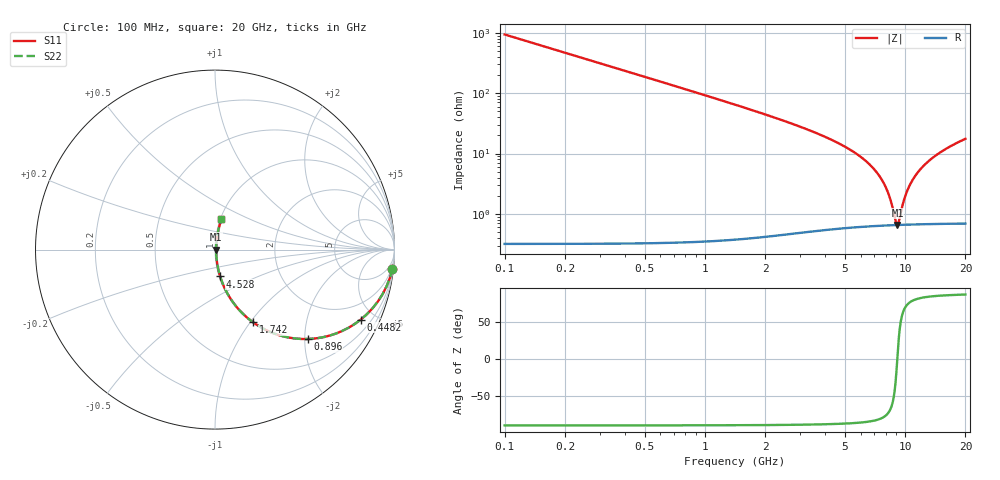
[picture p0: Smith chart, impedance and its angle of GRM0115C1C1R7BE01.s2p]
!Murata Part Number: GRM0115C1C1R7BE01
!These Parameters are Measured in Series Mode Connection
!Data Generated on Mar 30, 2021
!  o--ll--o
!Port1  Port2
!  o------o
!Operation Temp=25[degC], DC Bias Voltage=0[V]
!Freq. Start=100[MHz] Stop=20[GHz] 401[Steps]
# Hz S RI R 50
!Freq.(Hz) S11(Real) S11(Imag) S21(Real) S21(Imag) S12(Real) S12(Imag) S22(Real) S22(Imag)
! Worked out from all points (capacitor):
!   401 points, 100 MHz to 20 GHz, reference 50 ohm
!   read as one part in series: C = 1.7 pF near 199.5 MHz
!   lowest |Z| = 657 mohm at 9.155 GHz (marker M1)
!   series resonance near 9.138 GHz, so ESL is about 180 pH
!   S11 on the Smith chart (normalised r, x): 100 MHz: 1, -19; 448.2 MHz: 1.01, -4.17; 896 MHz: 1.01, -2.07; 1.742 GHz: 1.01, -1.03; 4.528 GHz: 1.01, -0.31; 20 GHz: 1.01, +0.35
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1e8  0.9887 -0.1056  0.0113 0.1056  0.0113 0.1056  0.9887 -0.1056
2.99e8  0.907 -0.2899  0.093 0.2899  0.093 0.2899  0.907 -0.2899
4.4825e8  0.8123 -0.3897  0.1877 0.3897  0.1877 0.3897  0.8123 -0.3897
6.4725e8  0.6738 -0.4677  0.3262 0.4677  0.3262 0.4677  0.6738 -0.4677
8.96e8  0.5167 -0.4981  0.4833 0.4981  0.4833 0.4981  0.5167 -0.4981
1.294e9  0.3346 -0.4693  0.6654 0.4693  0.6654 0.4693  0.3346 -0.4693
1.74175e9  0.2125 -0.4053  0.7875 0.4053  0.7875 0.4053  0.2125 -0.4053
2.43825e9  0.1151 -0.3129  0.8849 0.3129  0.8849 0.3129  0.1151 -0.3129
3.43325e9  0.0557 -0.2187  0.9443 0.2187  0.9443 0.2187  0.0557 -0.2187
4.52775e9  0.0286 -0.1495  0.9714 0.1495  0.9714 0.1495  0.0286 -0.1495
6.7665e9  0.00995 -0.0609  0.99 0.0609  0.99 0.0609  0.00995 -0.0609
7.51275e9  0.00789 -0.0394  0.9921 0.0394  0.9921 0.0394  0.00789 -0.0394
8.06e9  0.00704 -0.0252  0.993 0.0252  0.993 0.0252  0.00704 -0.0252
8.50775e9  0.00666 -0.0143  0.9933 0.0143  0.9933 0.0143  0.00666 -0.0143
9.00525e9  0.00651 -0.00293  0.9935 0.00293  0.9935 0.00293  0.00651 -0.00293
9.1545e9  0.00651 0.000354  0.9935 -0.000354  0.9935 -0.000354  0.00651 0.000354
1.005e10  0.00695 0.019  0.9931 -0.019  0.9931 -0.019  0.00695 0.019
1.059725e10  0.00751 0.0297  0.9925 -0.0297  0.9925 -0.0297  0.00751 0.0297
1.13435e10  0.00857 0.0435  0.9914 -0.0435  0.9914 -0.0435  0.00857 0.0435
1.338325e10  0.0128 0.0776  0.9872 -0.0776  0.9872 -0.0776  0.0128 0.0776
1.67165e10  0.0231 0.126  0.9769 -0.126  0.9769 -0.126  0.0231 0.126
2e10  0.0361 0.1678  0.9639 -0.1678  0.9639 -0.1678  0.0361 0.1678
